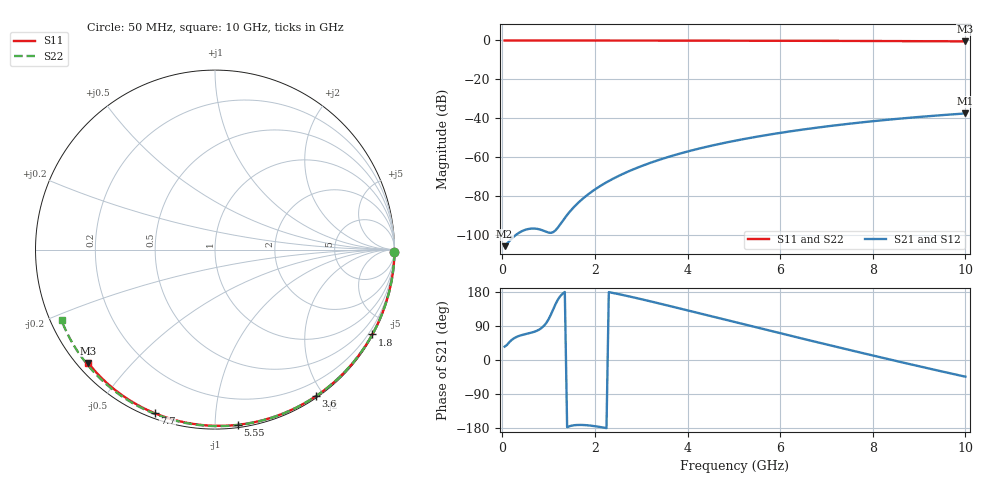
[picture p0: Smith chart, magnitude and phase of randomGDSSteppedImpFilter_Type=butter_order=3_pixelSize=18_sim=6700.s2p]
! freq	dB(S11)	phase(S11)	dB(S12)	phase(S12)
!  dB(S21)	phase(S21)	dB(S22)	phase(S22)
!S-par simulation data
#  GHz  S  DB  R 50
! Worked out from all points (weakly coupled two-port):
!   200 points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, 50 MHz to 10 GHz, reference 50 ohm
!   highest |S21| = -37.44 dB at 10 GHz (marker M1); lowest = -105.5 dB at 50 MHz (marker M2)
!   lowest |S11| = -0.5 dB at 10 GHz (marker M3), VSWR 37.06, Z = 1.55 - j19.1 ohm
!   |S11| at or under -10 dB: nowhere
!   |S22| runs from -0.5 to 0.0 dB; largest |S21 - S12| = 0
!   S11 on the Smith chart (normalised r, x): 50 MHz: open; 1.8 GHz: 0.03, -3.96; 3.6 GHz: 0.02, -1.91; 5.55 GHz: 0.02, -1.14; 7.7 GHz: 0.02, -0.70; 10 GHz: 0.03, -0.38
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0.05  -0.00 -0.8  -105.53 35.3  -105.53 35.3  -0.00 -0.9
0.45  -0.01 -7.2  -97.55 66.8  -97.55 66.8  -0.00 -8.0
0.85  -0.02 -13.5  -97.25 84.7  -97.25 84.7  -0.01 -15.2
1.3  -0.03 -20.6  -92.69 174.8  -92.69 174.8  -0.03 -23.1
1.75  -0.04 -27.6  -80.91 -171.5  -80.91 -171.5  -0.04 -30.9
1.8  -0.04 -28.4  -79.94 -171.9  -79.94 -171.9  -0.04 -31.7
1.95  -0.04 -30.7  -77.26 -173.8  -77.26 -173.8  -0.04 -34.3
2.1  -0.04 -33.0  -74.89 -176.5  -74.89 -176.5  -0.05 -36.9
2.3  -0.05 -36.0  -72.10 179.1  -72.10 179.1  -0.05 -40.3
2.5  -0.05 -39.1  -69.64 174.2  -69.64 174.2  -0.06 -43.7
2.9  -0.06 -45.1  -65.43 163.4  -65.43 163.4  -0.07 -50.4
3.4  -0.07 -52.5  -61.14 148.9  -61.14 148.9  -0.08 -58.6
3.6  -0.07 -55.4  -59.65 143.0  -59.65 143.0  -0.08 -61.8
4.3  -0.09 -65.4  -55.17 121.9  -55.17 121.9  -0.10 -73.0
5.05  -0.12 -75.9  -51.33 99.1  -51.33 99.1  -0.13 -84.5
5.55  -0.14 -82.6  -49.16 84.1  -49.16 84.1  -0.15 -92.0
6.1  -0.16 -89.9  -47.05 67.7  -47.05 67.7  -0.18 -100.1
6.7  -0.19 -97.7  -45.03 49.9  -45.03 49.9  -0.21 -108.7
7.7  -0.25 -110.3  -42.17 20.6  -42.17 20.6  -0.28 -122.9
8.35  -0.30 -118.3  -40.61 1.9  -40.61 1.9  -0.34 -132.0
9.2  -0.38 -128.6  -38.85 -22.1  -38.85 -22.1  -0.42 -143.9
10  -0.47 -138.2  -37.44 -44.1  -37.44 -44.1  -0.52 -155.2
